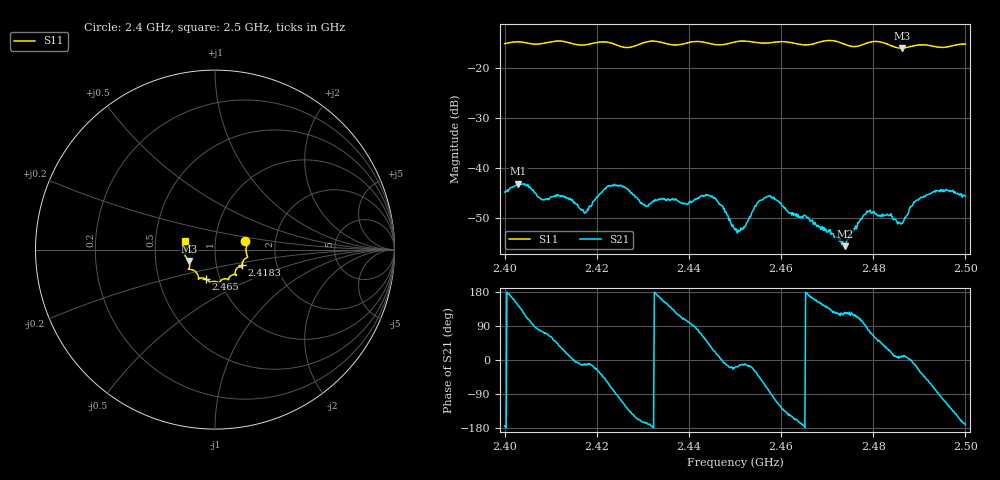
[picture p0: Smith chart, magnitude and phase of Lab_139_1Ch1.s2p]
# Hz S RI R 50
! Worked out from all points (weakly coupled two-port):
!   601 points, 2.4 GHz to 2.5 GHz, reference 50 ohm
!   highest |S21| = -43.11 dB at 2.403 GHz (marker M1); lowest = -55.6 dB at 2.4738 GHz (marker M2)
!   lowest |S11| = -16.0 dB at 2.4862 GHz (marker M3), VSWR 1.38, Z = 37.1 - j4.82 ohm
!   |S11| at or under -10 dB: start of sweep to end of sweep
!   S12 and S22 are empty: the file has one direction only
!   S11 on the Smith chart (normalised r, x): 2.4 GHz: 1.40, +0.13; 2.4183 GHz: 1.33, -0.24; 2.465 GHz: 0.86, -0.29; 2.5 GHz: 0.71, +0.07
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2.4e9  0.1691 0.046  -0.00571 -0.000641  0 0  0 0
2.403e9  0.1799 0.0328  -0.00559 0.0042  0 0  0 0
2.416667e9  0.1551 -0.0683  0.00378 -0.000806  0 0  0 0
2.418333e9  0.1499 -0.0869  0.00404 -0.000868  0 0  0 0
2.423333e9  0.1473 -0.0973  0.00168 -0.00652  0 0  0 0
2.430667e9  0.1157 -0.1405  -0.00401 -0.00104  0 0  0 0
2.433333e9  0.1167 -0.1412  -0.00474 0.000938  0 0  0 0
2.439333e9  0.0769 -0.1593  -0.00118 0.00425  0 0  0 0
2.444667e9  0.0641 -0.1631  0.00421 0.00315  0 0  0 0
2.45e9  0.0253 -0.1806  0.00228 -0.000758  0 0  0 0
2.452e9  0.021 -0.1847  0.00254 -0.000587  0 0  0 0
2.454833e9  0.00867 -0.1789  0.00357 -0.0027  0 0  0 0
2.457167e9  -0.0114 -0.1775  0.00111 -0.0051  0 0  0 0
2.465e9  -0.0528 -0.1621  -0.00334 -0.000328  0 0  0 0
2.466667e9  -0.0714 -0.1576  -0.00289 0.000739  0 0  0 0
2.473833e9  -0.0948 -0.1441  -0.000966 0.00134  0 0  0 0
2.478833e9  -0.1406 -0.1105  0.000641 0.00359  0 0  0 0
2.483333e9  -0.1421 -0.096  0.00302 0.0014  0 0  0 0
2.486167e9  -0.1446 -0.0634  0.00276 0.000491  0 0  0 0
2.489167e9  -0.1634 -0.04  0.0045 -0.00121  0 0  0 0
2.493333e9  -0.1631 -0.016  0.0014 -0.00576  0 0  0 0
2.5e9  -0.167 0.0471  -0.00518 -0.000801  0 0  0 0
